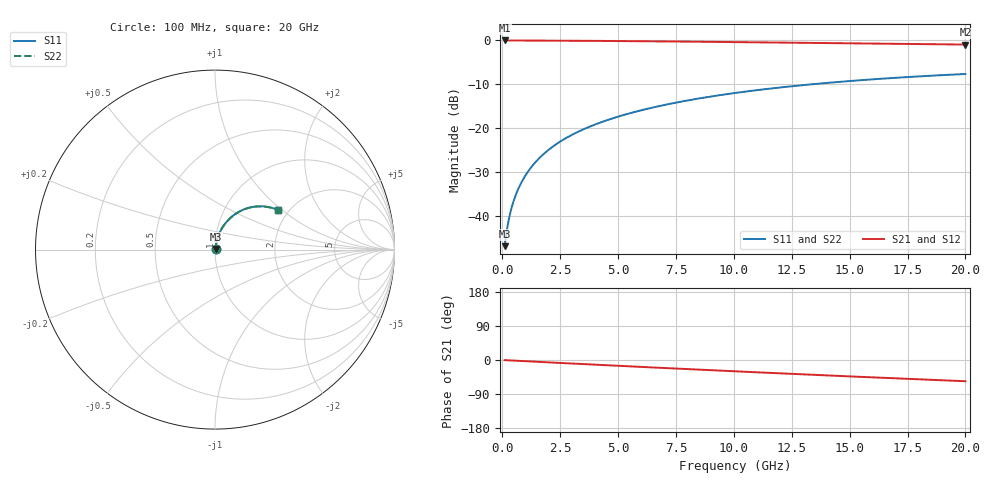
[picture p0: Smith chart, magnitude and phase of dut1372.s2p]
! Touchstone file exported from HFSS 2026.1.0
!  File:  C:/ffzhzh/LocalFiles/Ansys_Project_Files/temp_train_TMRDL_1372_1783165906_55132.aedt
!  Generated:  07:53:10 PM Jul  4, 2026
!  Design:  TMRDL
!  Project:  temp_train_TMRDL_1372_1783165906_55132
! Variables:
!  h_bsmrdl = 2um
!  h_ox = 20um
!  h_rdl = 5um
!  h_sub = 80um
!  h_tmrdl = 5.95um
!  h_tsv = 80um
!  h_via = 3um
!  l_bsmrdl = 300um
!  l_sub = 1319.77um
!  l_tmrdl = 919.77um
!  m_sub = 200um
!  pitch = 38.08um
!  r_tsv = 6um
!  s_tmrdl = 10um
!  w_bsmrdl = 18um
!  w_sub = 500um
!  w_tmrdl = 17.11um
!  x_tsv_center1 = 928.325um
!  x_tsv_center2 = 1246.325um
!  x_tsv_center3 = 2183.205um
!  x_tsv_center4 = 2501.205um
!  x_tsv_center5 = 3438.085um
!  x_tsv_center6 = 3756.085um
# GHz S MA R 50.000000
! Terminal data exported
! Port[1] = TM_RDL1_1_T1
! Port[2] = TM_RDL1_1_T2
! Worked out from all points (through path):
!   200 points, 100 MHz to 20 GHz, reference 50 ohm
!   highest |S21| = -0.03 dB at 100 MHz (marker M1); lowest = -1.0 dB at 20 GHz (marker M2)
!   group delay of S21, straight-line fit = 7.76 ps
!   lowest |S11| = -46.8 dB at 100 MHz (marker M3), VSWR 1.01, Z = 50.3 + j0.313 ohm
!   |S11| at or under -10 dB: start of sweep to 13.35 GHz
!   |S22| runs from -46.8 to -7.7 dB; largest |S21 - S12| = 5.4e-15
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0.1  0.004567 42.9  0.9967 -0.3  0.9967 -0.3  0.004567 42.9
! Gamma 0 0 0 0
! Port Impedance 50 0 50 0
0.2  0.007062 59.4  0.9965 -0.6  0.9965 -0.6  0.007062 59.4
0.3  0.009736 66.7  0.9963 -1.0  0.9963 -1.0  0.009736 66.7
0.4  0.01245 70.8  0.9961 -1.3  0.9961 -1.3  0.01245 70.8
0.5  0.01519 73.4  0.996 -1.6  0.996 -1.6  0.01519 73.3
0.6  0.01795 75.1  0.9958 -1.9  0.9958 -1.9  0.01795 75.1
0.8  0.02351 77.2  0.9956 -2.5  0.9956 -2.5  0.02351 77.2
1.1  0.0319 78.5  0.9951 -3.5  0.9951 -3.5  0.0319 78.5
1.5  0.04308 78.8  0.9943 -4.7  0.9943 -4.7  0.04308 78.8
1.8  0.0514 78.6  0.9935 -5.6  0.9935 -5.6  0.0514 78.6
2.1  0.05967 78.1  0.9927 -6.6  0.9927 -6.6  0.05967 78.1
2.7  0.07597 76.9  0.9908 -8.4  0.9908 -8.4  0.07597 76.8
3.5  0.09721 74.9  0.9879 -10.8  0.9879 -10.8  0.09722 74.8
4.2  0.1154 73.0  0.9851 -12.9  0.9851 -12.9  0.1154 73.0
5  0.1356 70.9  0.9817 -15.3  0.9817 -15.3  0.1356 70.8
5.9  0.1578 68.4  0.9775 -17.9  0.9775 -17.9  0.1578 68.4
6.8  0.1794 66.0  0.9731 -20.6  0.9731 -20.6  0.1794 66.0
8.3  0.2139 62.0  0.9651 -24.9  0.9651 -24.9  0.2139 61.9
10.1  0.253 57.2  0.9548 -30.0  0.9548 -30.0  0.253 57.1
13.4  0.3171 48.6  0.9345 -39.0  0.9345 -39.0  0.3171 48.5
16.7  0.3709 40.2  0.914 -47.7  0.914 -47.7  0.3709 40.1
20  0.4143 32.2  0.8951 -56.0  0.8951 -56.0  0.4144 32.0
